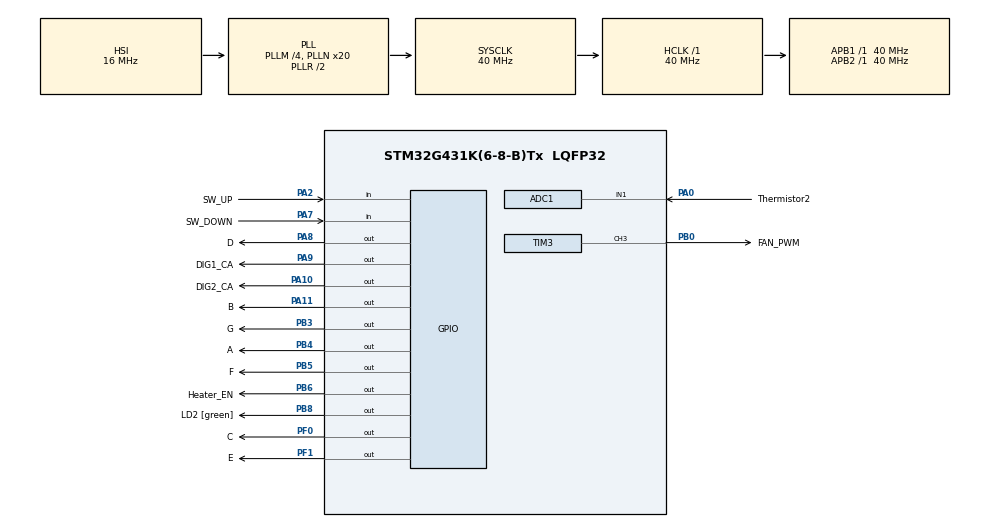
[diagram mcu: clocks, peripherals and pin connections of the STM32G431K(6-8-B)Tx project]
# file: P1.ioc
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Mcu.Family=STM32G4
VP_SYS_VS_tim6.Mode=TIM6
RCC.CortexFreq_Value=40000000
NVIC.TIM6_DAC_IRQn=true\:0\:0\:false\:false\:true\:false\:false\:true
PA14.GPIO_Label=T_SWCLK
PA0.GPIO_Label=Thermistor2
PB0.GPIO_Label=FAN_PWM
PB6.GPIO_Label=Heater_EN
RCC.SYSCLKSource=RCC_SYSCLKSOURCE_PLLCLK
ProjectManager.StackSize=0x400
VP_FREERTOS_VS_CMSIS_V2.Mode=CMSIS_V2
PA10.PinState=GPIO_PIN_RESET
RCC.CodegenConfigPeriph=true
RCC.HCLKFreq_Value=40000000
RCC.APB2TimFreq_Value=40000000
PB6.Signal=GPIO_Output
PB5.PinState=GPIO_PIN_RESET
RCC.AHBFreq_Value=40000000
ADC1.Channel-0\#ChannelRegularConversion=ADC_CHANNEL_1
RCC.HSE_VALUE=8000000
PF0-OSC_IN.GPIO_Label=C
RCC.ADC12Freq_Value=40000000
PA14.Mode=Serial_Wire
PA10.GPIO_Label=DIG2_CA
PA0.Mode=IN1-Single-Ended
VP_SYS_VS_DBSignals.Mode=DisableDeadBatterySignals
PA8.Signal=GPIO_Output
ADC1.SamplingTime-0\#ChannelRegularConversion=ADC_SAMPLETIME_2CYCLES_5
PA0.Signal=ADC1_IN1
Mcu.Package=LQFP32
NVIC.TimeBase=TIM6_DAC_IRQn
PA2.GPIO_Label=SW_UP
NVIC.TimeBaseIP=TIM6
PA10.Signal=GPIO_Output
PB8-BOOT0.GPIO_Label=LD2 [green]
TIM3.PeriodNoDither=10000
PB5.GPIO_Label=F
RCC.APB1TimFreq_Value=40000000
PB4.PinState=GPIO_PIN_RESET
VP_TIM3_VS_ClockSourceINT.Mode=Internal
PF1-OSC_OUT.Signal=GPIO_Output
RCC.HSI48_VALUE=48000000
PA8.PinState=GPIO_PIN_RESET
PB4.Signal=GPIO_Output
PF1-OSC_OUT.PinState=GPIO_PIN_RESET
PB3.GPIO_Label=G
FREERTOS.Tasks01=blink01,24,128,Startblink01,Default,NULL,Dynamic,NULL,NULL;blink02,16,128,Startblink02,Default,NULL,Dynamic,NULL,NULL
ADC1.Rank-0\#ChannelRegularConversion=1
ADC1.OffsetNumber-0\#ChannelRegularConversion=ADC_OFFSET_NONE
PA9.GPIO_Label=DIG1_CA
PA11.GPIO_Label=B
RCC.EXTERNAL_CLOCK_VALUE=12288000
PF0-OSC_IN.PinState=GPIO_PIN_RESET
SH.S_TIM3_CH3.0=TIM3_CH3,PWM Generation3 CH3
PA13.Signal=SYS_JTMS-SWDIO
TIM3.Channel-PWM\ Generation3\ CH3=TIM_CHANNEL_3
PA8.GPIO_Label=D
ProjectManager.TargetToolchain=SW4STM32
PA9.Signal=GPIO_Output
PA9.PinState=GPIO_PIN_RESET
RCC.USBFreq_Value=40000000
RCC.LSE_VALUE=32768
PB8-BOOT0.Signal=GPIO_Output
board=NUCLEO-G431KB
RCC.VCOOutputFreq_Value=80000000
RCC.APB2Freq_Value=40000000
PB4.GPIO_Label=A
PF1-OSC_OUT.GPIO_Label=E
PA13.Mode=Serial_Wire
Mcu.Name=STM32G431K(6-8-B)Tx
PA13.GPIO_Label=T_SWDIO
PA2.Signal=GPIO_Input
PB3.Signal=GPIO_Output
RCC.SYSCLKFreq_VALUE=40000000
PB5.Signal=GPIO_Output
PA7.GPIO_Label=SW_DOWN
ADC1.master=1
PA11.Signal=GPIO_Output
PA14.Signal=SYS_JTCK-SWCLK
ProjectManager.HeapSize=0x200
RCC.HSI_VALUE=16000000
NVIC.PriorityGroup=NVIC_PRIORITYGROUP_4
ADC1.NbrOfConversionFlag=1
RCC.PLLM=RCC_PLLM_DIV4
RCC.PLLN=20
PF0-OSC_IN.Signal=GPIO_Output
PA11.PinState=GPIO_PIN_RESET
RCC.APB1Freq_Value=40000000
PB0.Signal=S_TIM3_CH3
PA7.Signal=GPIO_Input

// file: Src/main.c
/* USER CODE BEGIN Header */
/**
  ******************************************************************************
  * @file           : main.c
  * @brief          : Main program body
  ******************************************************************************
  * @attention
  *
  * <h2><center>&copy; Copyright (c) 2020 STMicroelectronics.
  * All rights reserved.</center></h2>
  *
  * This software component is licensed by ST under BSD 3-Clause license,
  * the "License"; You may not use this file except in compliance with the
  * License. You may obtain a copy of the License at:
  *                        opensource.org/licenses/BSD-3-Clause
  *
  ******************************************************************************
  */
/* USER CODE END Header */

#include "main.h"
#include "cmsis_os.h"

/* USER CODE BEGIN Includes */
#include "SEVEN_SEGMENTS.h"
#include "TempSense.h"
/* USER CODE END Includes */

/* USER CODE BEGIN PM */
#define Setpoin_MIN		10
#define Setpoin_MAX		70

#define TURN_LED_ON 	HAL_GPIO_WritePin(LD2_GPIO_Port, LD2_Pin, GPIO_PIN_SET)
#define TURN_LED_OFF 	HAL_GPIO_WritePin(LD2_GPIO_Port, LD2_Pin, GPIO_PIN_RESET)

#define TURN_HEATER_ON 	HAL_GPIO_WritePin(Heater_EN_GPIO_Port, Heater_EN_Pin, GPIO_PIN_SET)
#define TURN_HEATER_OFF HAL_GPIO_WritePin(Heater_EN_GPIO_Port, Heater_EN_Pin, GPIO_PIN_RESET)

#define A(on) 			( on ? HAL_GPIO_WritePin(A_GPIO_Port, A_Pin, GPIO_PIN_RESET) : HAL_GPIO_WritePin(A_GPIO_Port, A_Pin, GPIO_PIN_SET))
#define B(on) 			( on ? HAL_GPIO_WritePin(B_GPIO_Port, B_Pin, GPIO_PIN_RESET) : HAL_GPIO_WritePin(B_GPIO_Port, B_Pin, GPIO_PIN_SET))
#define C(on) 			( on ? HAL_GPIO_WritePin(C_GPIO_Port, C_Pin, GPIO_PIN_RESET) : HAL_GPIO_WritePin(C_GPIO_Port, C_Pin, GPIO_PIN_SET))
#define D(on) 			( on ? HAL_GPIO_WritePin(D_GPIO_Port, D_Pin, GPIO_PIN_RESET) : HAL_GPIO_WritePin(D_GPIO_Port, D_Pin, GPIO_PIN_SET))
#define E(on) 			( on ? HAL_GPIO_WritePin(E_GPIO_Port, E_Pin, GPIO_PIN_RESET) : HAL_GPIO_WritePin(E_GPIO_Port, E_Pin, GPIO_PIN_SET))
#define F(on) 			( on ? HAL_GPIO_WritePin(F_GPIO_Port, F_Pin, GPIO_PIN_RESET) : HAL_GPIO_WritePin(F_GPIO_Port, F_Pin, GPIO_PIN_SET))
#define G(on) 			( on ? HAL_GPIO_WritePin(G_GPIO_Port, G_Pin, GPIO_PIN_RESET) : HAL_GPIO_WritePin(G_GPIO_Port, G_Pin, GPIO_PIN_SET))

#define one				A(0);B(0);C(0);D(0);E(1);F(1);G(0)
#define two				A(1);B(1);C(0);D(1);E(1);F(0);G(1)
#define three			A(1);B(0);C(0);D(1);E(1);F(1);G(1)
#define four			A(0);B(0);C(1);D(0);E(1);F(1);G(1)
#define five			A(1);B(0);C(1);D(1);E(0);F(1);G(1)
#define six				A(1);B(1);C(1);D(1);E(0);F(1);G(1)
#define seven			A(0);B(0);C(0);D(1);E(1);F(1);G(0)
#define eight			A(1);B(1);C(1);D(1);E(1);F(1);G(1)
#define nine			A(0);B(0);C(1);D(1);E(1);F(1);G(1)

/* USER CODE END PM */

ADC_HandleTypeDef hadc1;

TIM_HandleTypeDef htim3;

/* Definitions for blink01 */
osThreadId_t blink01Handle;
const osThreadAttr_t blink01_attributes = {
  .name = "blink01",
  .priority = (osPriority_t) osPriorityNormal,
  .stack_size = 128 * 4
};
/* Definitions for blink02 */
osThreadId_t blink02Handle;
const osThreadAttr_t blink02_attributes = {
  .name = "blink02",
  .priority = (osPriority_t) osPriorityBelowNormal,
  .stack_size = 128 * 4
};

void SystemClock_Config(void);
static void MX_GPIO_Init(void);
static void MX_ADC1_Init(void);
static void MX_TIM3_Init(void);
void Startblink01(void *argument);
void Startblink02(void *argument);

/* USER CODE BEGIN PFP */
static void setPWM(TIM_HandleTypeDef, uint32_t, uint16_t, uint16_t);
/* USER CODE END PFP */

int main(void)
{

  /* MCU Configuration--------------------------------------------------------*/

  /* Reset of all peripherals, Initializes the Flash interface and the Systick. */
  HAL_Init();

  /* Configure the system clock */
  SystemClock_Config();

  /* Initialize all configured peripherals */
  MX_GPIO_Init();
  MX_ADC1_Init();
  MX_TIM3_Init();
  /* USER CODE BEGIN 2 */
  SEVEN_SEG_Init(0);
  SEVEN_SEG_Enable(0);
  SEVEN_SEG_Write(0, 0);

  __HAL_RCC_TIM3_CLK_ENABLE();

//  HAL_TIM_Base_Start(&htim3);
  HAL_TIM_PWM_Start(&htim3,TIM_CHANNEL_ALL);
  /* USER CODE END 2 */

  /* Init scheduler */
  osKernelInitialize();

  /* Create the thread(s) */
  /* creation of blink01 */
  blink01Handle = osThreadNew(Startblink01, NULL, &blink01_attributes);

  /* creation of blink02 */
  blink02Handle = osThreadNew(Startblink02, NULL, &blink02_attributes);

  /* Start scheduler */
  osKernelStart();

  /* We should never get here as control is now taken by the scheduler */
  /* Infinite loop */
  /* USER CODE BEGIN WHILE */
  HAL_ADC_Start(&hadc1);

  while (1)
  {
    /* USER CODE END WHILE */

  }
}

void SystemClock_Config(void)
{
  RCC_OscInitTypeDef RCC_OscInitStruct = {0};
  RCC_ClkInitTypeDef RCC_ClkInitStruct = {0};
  RCC_PeriphCLKInitTypeDef PeriphClkInit = {0};

  /** Configure the main internal regulator output voltage
  */
  HAL_PWREx_ControlVoltageScaling(PWR_REGULATOR_VOLTAGE_SCALE1);
  /** Initializes the CPU, AHB and APB busses clocks
  */
  RCC_OscInitStruct.OscillatorType = RCC_OSCILLATORTYPE_HSI;
  RCC_OscInitStruct.HSIState = RCC_HSI_ON;
  RCC_OscInitStruct.HSICalibrationValue = RCC_HSICALIBRATION_DEFAULT;
  RCC_OscInitStruct.PLL.PLLState = RCC_PLL_ON;
  RCC_OscInitStruct.PLL.PLLSource = RCC_PLLSOURCE_HSI;
  RCC_OscInitStruct.PLL.PLLM = RCC_PLLM_DIV4;
  RCC_OscInitStruct.PLL.PLLN = 20;
  RCC_OscInitStruct.PLL.PLLP = RCC_PLLP_DIV2;
  RCC_OscInitStruct.PLL.PLLQ = RCC_PLLQ_DIV2;
  RCC_OscInitStruct.PLL.PLLR = RCC_PLLR_DIV2;
  if (HAL_RCC_OscConfig(&RCC_OscInitStruct) != HAL_OK)
  {
    Error_Handler();
  }
  /** Initializes the CPU, AHB and APB busses clocks
  */
  RCC_ClkInitStruct.ClockType = RCC_CLOCKTYPE_HCLK|RCC_CLOCKTYPE_SYSCLK
                              |RCC_CLOCKTYPE_PCLK1|RCC_CLOCKTYPE_PCLK2;
  RCC_ClkInitStruct.SYSCLKSource = RCC_SYSCLKSOURCE_PLLCLK;
  RCC_ClkInitStruct.AHBCLKDivider = RCC_SYSCLK_DIV1;
  RCC_ClkInitStruct.APB1CLKDivider = RCC_HCLK_DIV1;
  RCC_ClkInitStruct.APB2CLKDivider = RCC_HCLK_DIV1;

  if (HAL_RCC_ClockConfig(&RCC_ClkInitStruct, FLASH_LATENCY_1) != HAL_OK)
  {
    Error_Handler();
  }
  /** Initializes the peripherals clocks
  */
  PeriphClkInit.PeriphClockSelection = RCC_PERIPHCLK_ADC12;
  PeriphClkInit.Adc12ClockSelection = RCC_ADC12CLKSOURCE_SYSCLK;
  if (HAL_RCCEx_PeriphCLKConfig(&PeriphClkInit) != HAL_OK)
  {
    Error_Handler();
  }
}

static void MX_ADC1_Init(void)
{

  ADC_MultiModeTypeDef multimode = {0};
  ADC_ChannelConfTypeDef sConfig = {0};

  /** Common config
  */
  hadc1.Instance = ADC1;
  hadc1.Init.ClockPrescaler = ADC_CLOCK_ASYNC_DIV1;
  hadc1.Init.Resolution = ADC_RESOLUTION_12B;
  hadc1.Init.DataAlign = ADC_DATAALIGN_RIGHT;
  hadc1.Init.GainCompensation = 0;
  hadc1.Init.ScanConvMode = ADC_SCAN_DISABLE;
  hadc1.Init.EOCSelection = ADC_EOC_SINGLE_CONV;
  hadc1.Init.LowPowerAutoWait = DISABLE;
  hadc1.Init.ContinuousConvMode = DISABLE;
  hadc1.Init.NbrOfConversion = 1;
  hadc1.Init.DiscontinuousConvMode = DISABLE;
  hadc1.Init.ExternalTrigConv = ADC_SOFTWARE_START;
  hadc1.Init.ExternalTrigConvEdge = ADC_EXTERNALTRIGCONVEDGE_NONE;
  hadc1.Init.DMAContinuousRequests = DISABLE;
  hadc1.Init.Overrun = ADC_OVR_DATA_PRESERVED;
  hadc1.Init.OversamplingMode = DISABLE;
  if (HAL_ADC_Init(&hadc1) != HAL_OK)
  {
    Error_Handler();
  }
  /** Configure the ADC multi-mode
  */
  multimode.Mode = ADC_MODE_INDEPENDENT;
  if (HAL_ADCEx_MultiModeConfigChannel(&hadc1, &multimode) != HAL_OK)
  {
    Error_Handler();
  }
  /** Configure Regular Channel
  */
  sConfig.Channel = ADC_CHANNEL_1;
  sConfig.Rank = ADC_REGULAR_RANK_1;
  sConfig.SamplingTime = ADC_SAMPLETIME_2CYCLES_5;
  sConfig.SingleDiff = ADC_SINGLE_ENDED;
  sConfig.OffsetNumber = ADC_OFFSET_NONE;
  sConfig.Offset = 0;
  if (HAL_ADC_ConfigChannel(&hadc1, &sConfig) != HAL_OK)
  {
    Error_Handler();
  }

}

static void MX_TIM3_Init(void)
{

  TIM_ClockConfigTypeDef sClockSourceConfig = {0};
  TIM_MasterConfigTypeDef sMasterConfig = {0};
  TIM_OC_InitTypeDef sConfigOC = {0};

  htim3.Instance = TIM3;
  htim3.Init.Prescaler = 0;
  htim3.Init.CounterMode = TIM_COUNTERMODE_UP;
  htim3.Init.Period = 10000;
  htim3.Init.ClockDivision = TIM_CLOCKDIVISION_DIV1;
  htim3.Init.AutoReloadPreload = TIM_AUTORELOAD_PRELOAD_DISABLE;
  if (HAL_TIM_Base_Init(&htim3) != HAL_OK)
  {
    Error_Handler();
  }
  sClockSourceConfig.ClockSource = TIM_CLOCKSOURCE_INTERNAL;
  if (HAL_TIM_ConfigClockSource(&htim3, &sClockSourceConfig) != HAL_OK)
  {
    Error_Handler();
  }
  if (HAL_TIM_PWM_Init(&htim3) != HAL_OK)
  {
    Error_Handler();
  }
  sMasterConfig.MasterOutputTrigger = TIM_TRGO_RESET;
  sMasterConfig.MasterSlaveMode = TIM_MASTERSLAVEMODE_DISABLE;
  if (HAL_TIMEx_MasterConfigSynchronization(&htim3, &sMasterConfig) != HAL_OK)
  {
    Error_Handler();
  }
  sConfigOC.OCMode = TIM_OCMODE_PWM1;
  sConfigOC.Pulse = 0;
  sConfigOC.OCPolarity = TIM_OCPOLARITY_HIGH;
  sConfigOC.OCFastMode = TIM_OCFAST_DISABLE;
  if (HAL_TIM_PWM_ConfigChannel(&htim3, &sConfigOC, TIM_CHANNEL_3) != HAL_OK)
  {
    Error_Handler();
  }
  HAL_TIM_MspPostInit(&htim3);

}

static void MX_GPIO_Init(void)
{
  GPIO_InitTypeDef GPIO_InitStruct = {0};

  /* GPIO Ports Clock Enable */
  __HAL_RCC_GPIOF_CLK_ENABLE();
  __HAL_RCC_GPIOA_CLK_ENABLE();
  __HAL_RCC_GPIOB_CLK_ENABLE();

  /*Configure GPIO pin Output Level */
  HAL_GPIO_WritePin(GPIOF, C_Pin|E_Pin, GPIO_PIN_RESET);

  /*Configure GPIO pin Output Level */
  HAL_GPIO_WritePin(GPIOA, D_Pin|DIG1_CA_Pin|DIG2_CA_Pin|B_Pin, GPIO_PIN_RESET);

  /*Configure GPIO pin Output Level */
  HAL_GPIO_WritePin(GPIOB, G_Pin|A_Pin|F_Pin|Heater_EN_Pin
                          |LD2_Pin, GPIO_PIN_RESET);

  /*Configure GPIO pins : C_Pin E_Pin */
  GPIO_InitStruct.Pin = C_Pin|E_Pin;
  GPIO_InitStruct.Mode = GPIO_MODE_OUTPUT_PP;
  GPIO_InitStruct.Pull = GPIO_NOPULL;
  GPIO_InitStruct.Speed = GPIO_SPEED_FREQ_LOW;
  HAL_GPIO_Init(GPIOF, &GPIO_InitStruct);

  /*Configure GPIO pins : SW_UP_Pin SW_DOWN_Pin */
  GPIO_InitStruct.Pin = SW_UP_Pin|SW_DOWN_Pin;
  GPIO_InitStruct.Mode = GPIO_MODE_INPUT;
  GPIO_InitStruct.Pull = GPIO_PULLUP;
  HAL_GPIO_Init(GPIOA, &GPIO_InitStruct);

  /*Configure GPIO pins : D_Pin DIG1_CA_Pin DIG2_CA_Pin B_Pin */
  GPIO_InitStruct.Pin = D_Pin|DIG1_CA_Pin|DIG2_CA_Pin|B_Pin;
  GPIO_InitStruct.Mode = GPIO_MODE_OUTPUT_PP;
  GPIO_InitStruct.Pull = GPIO_NOPULL;
  GPIO_InitStruct.Speed = GPIO_SPEED_FREQ_LOW;
  HAL_GPIO_Init(GPIOA, &GPIO_InitStruct);

  /*Configure GPIO pins : G_Pin A_Pin F_Pin Heater_EN_Pin
                           LD2_Pin */
  GPIO_InitStruct.Pin = G_Pin|A_Pin|F_Pin|Heater_EN_Pin
                          |LD2_Pin;
  GPIO_InitStruct.Mode = GPIO_MODE_OUTPUT_PP;
  GPIO_InitStruct.Pull = GPIO_NOPULL;
  GPIO_InitStruct.Speed = GPIO_SPEED_FREQ_LOW;
  HAL_GPIO_Init(GPIOB, &GPIO_InitStruct);

}

/* USER CODE BEGIN 4 */
void user_pwm_setvalue(uint16_t value)
{
    TIM_OC_InitTypeDef sConfigOC;

    sConfigOC.OCMode = TIM_OCMODE_PWM1;
    sConfigOC.Pulse = value;
    sConfigOC.OCPolarity = TIM_OCPOLARITY_HIGH;
    sConfigOC.OCFastMode = TIM_OCFAST_DISABLE;
    HAL_TIM_PWM_ConfigChannel(&htim3, &sConfigOC, TIM_CHANNEL_3);
    HAL_TIM_PWM_Start(&htim3, TIM_CHANNEL_3);
}

void setPWM(TIM_HandleTypeDef timer, uint32_t channel, uint16_t period,
uint16_t pulse)
{
HAL_TIM_PWM_Stop(&timer, channel);
// stop generation of pwm
TIM_OC_InitTypeDef sConfigOC;
timer.Init.Period = period;
// set the period duration
HAL_TIM_PWM_Init(&timer); // reinititialise with new period value
sConfigOC.OCMode = TIM_OCMODE_PWM1;
sConfigOC.Pulse = pulse;
// set the pulse duration
sConfigOC.OCPolarity = TIM_OCPOLARITY_HIGH;
sConfigOC.OCFastMode = TIM_OCFAST_DISABLE;
HAL_TIM_PWM_ConfigChannel(&timer, &sConfigOC, channel);
HAL_TIM_PWM_Start(&timer, channel);
}
/* USER CODE END 4 */

void Startblink01(void *argument)
{
  /* USER CODE BEGIN 5 */
	static uint16_t setpoint;
	static uint16_t blocked;
  /* Infinite loop */
  setpoint = 25;
  blocked = 0;
  for(;;)
  {

	  uint32_t ADCValue;

		uint32_t SW_Down = HAL_GPIO_ReadPin(SW_DOWN_GPIO_Port,SW_DOWN_Pin);
		if (!SW_Down && (setpoint > Setpoin_MIN)){
			setpoint--;
			blocked = 40;
			SEVEN_SEG_Write(0, setpoint);
		}
		vTaskDelay( 50 / portTICK_PERIOD_MS );
		uint32_t SW_Up = HAL_GPIO_ReadPin(SW_UP_GPIO_Port,SW_UP_Pin);
		if (!SW_Up && (setpoint < Setpoin_MAX)){
			setpoint++;
			blocked = 40;
			SEVEN_SEG_Write(0, setpoint);
		}
		if (blocked==0){
			HAL_ADC_Start(&hadc1);
	      if (HAL_ADC_PollForConversion(&hadc1, 1000000) == HAL_OK)
	      {
	    	  ADCValue = HAL_ADC_GetValue(&hadc1);
	    	  uint16_t temp	= (uint16_t) (readThermistor(ADCValue)+0.5);
	    	  SEVEN_SEG_Write(0, temp);
	    	  if(temp < setpoint){
	    		  TURN_HEATER_ON;
	    		  setPWM(htim3, TIM_CHANNEL_3, 4095, 4095);
	    	  }
	    	  else if(temp > (setpoint+1)){
	    		  TURN_HEATER_OFF;
	    		  setPWM(htim3, TIM_CHANNEL_3, 4095, 2000);
	    	  }
	      }
		}
		else{
			blocked--;
		}
		vTaskDelay( 50 / portTICK_PERIOD_MS );
//		for (uint16_t i = 1; i < 100; i++) {
//			SEVEN_SEG_Write(0, i);
//			vTaskDelay( 400 / portTICK_PERIOD_MS );
//		}
  }
  /* USER CODE END 5 */
}

void Startblink02(void *argument)
{
  /* USER CODE BEGIN Startblink02 */
  /* Infinite loop */
  for(;;)
  {
	  vTaskDelay( 5 / portTICK_PERIOD_MS );
      SEVEN_SEG_Main();
  }
  /* USER CODE END Startblink02 */
}

 /**
  * @brief  Period elapsed callback in non blocking mode
  * @note   This function is called  when TIM6 interrupt took place, inside
  * HAL_TIM_IRQHandler(). It makes a direct call to HAL_IncTick() to increment
  * a global variable "uwTick" used as application time base.
  * @param  htim : TIM handle
  * @retval None
  */
void HAL_TIM_PeriodElapsedCallback(TIM_HandleTypeDef *htim)
{
  if (htim->Instance == TIM6) {
    HAL_IncTick();
  }
}

void Error_Handler(void)
{
}

/************************ (C) COPYRIGHT STMicroelectronics *****END OF FILE****/
